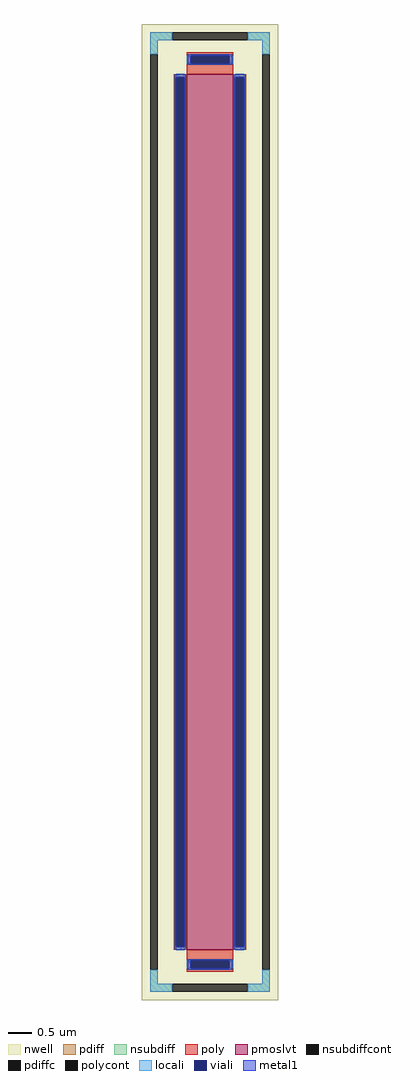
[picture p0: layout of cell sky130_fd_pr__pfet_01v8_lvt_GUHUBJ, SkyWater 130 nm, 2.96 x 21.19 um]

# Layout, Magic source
magic
tech sky130A
magscale 1 2
<< nwell >>
rect -296 -2119 296 2119
<< pmoslvt >>
rect -100 -1900 100 1900
<< pdiff >>
rect -158 1888 -100 1900
rect -158 -1888 -146 1888
rect -112 -1888 -100 1888
rect -158 -1900 -100 -1888
rect 100 1888 158 1900
rect 100 -1888 112 1888
rect 146 -1888 158 1888
rect 100 -1900 158 -1888
<< pdiffc >>
rect -146 -1888 -112 1888
rect 112 -1888 146 1888
<< nsubdiff >>
rect -260 2049 -164 2083
rect 164 2049 260 2083
rect -260 1987 -226 2049
rect 226 1987 260 2049
rect -260 -2049 -226 -1987
rect 226 -2049 260 -1987
rect -260 -2083 -164 -2049
rect 164 -2083 260 -2049
<< nsubdiffcont >>
rect -164 2049 164 2083
rect -260 -1987 -226 1987
rect 226 -1987 260 1987
rect -164 -2083 164 -2049
<< poly >>
rect -100 1981 100 1997
rect -100 1947 -84 1981
rect 84 1947 100 1981
rect -100 1900 100 1947
rect -100 -1947 100 -1900
rect -100 -1981 -84 -1947
rect 84 -1981 100 -1947
rect -100 -1997 100 -1981
<< polycont >>
rect -84 1947 84 1981
rect -84 -1981 84 -1947
<< locali >>
rect -260 2049 -164 2083
rect 164 2049 260 2083
rect -260 1987 -226 2049
rect 226 1987 260 2049
rect -100 1947 -84 1981
rect 84 1947 100 1981
rect -146 1888 -112 1904
rect -146 -1904 -112 -1888
rect 112 1888 146 1904
rect 112 -1904 146 -1888
rect -100 -1981 -84 -1947
rect 84 -1981 100 -1947
rect -260 -2049 -226 -1987
rect 226 -2049 260 -1987
rect -260 -2083 -164 -2049
rect 164 -2083 260 -2049
<< viali >>
rect -84 1947 84 1981
rect -146 -1888 -112 1888
rect 112 -1888 146 1888
rect -84 -1981 84 -1947
<< metal1 >>
rect -96 1981 96 1987
rect -96 1947 -84 1981
rect 84 1947 96 1981
rect -96 1941 96 1947
rect -152 1888 -106 1900
rect -152 -1888 -146 1888
rect -112 -1888 -106 1888
rect -152 -1900 -106 -1888
rect 106 1888 152 1900
rect 106 -1888 112 1888
rect 146 -1888 152 1888
rect 106 -1900 152 -1888
rect -96 -1947 96 -1941
rect -96 -1981 -84 -1947
rect 84 -1981 96 -1947
rect -96 -1987 96 -1981
<< properties >>
string FIXED_BBOX -243 -2066 243 2066
string gencell sky130_fd_pr__pfet_01v8_lvt
string library sky130
string parameters w 19.0 l 1.0 m 1 nf 1 diffcov 100 polycov 100 guard 1 glc 1 grc 1 gtc 1 gbc 1 tbcov 100 rlcov 100 topc 1 botc 1 poverlap 0 doverlap 1 lmin 0.35 wmin 0.42 compatible {sky130_fd_pr__pfet_01v8  sky130_fd_pr__pfet_01v8_lvt sky130_fd_pr__pfet_01v8_hvt  sky130_fd_pr__pfet_g5v0d10v5} full_metal 1 viasrc 100 viadrn 100 viagate 100 viagb 0 viagr 0 viagl 0 viagt 0
<< end >>
